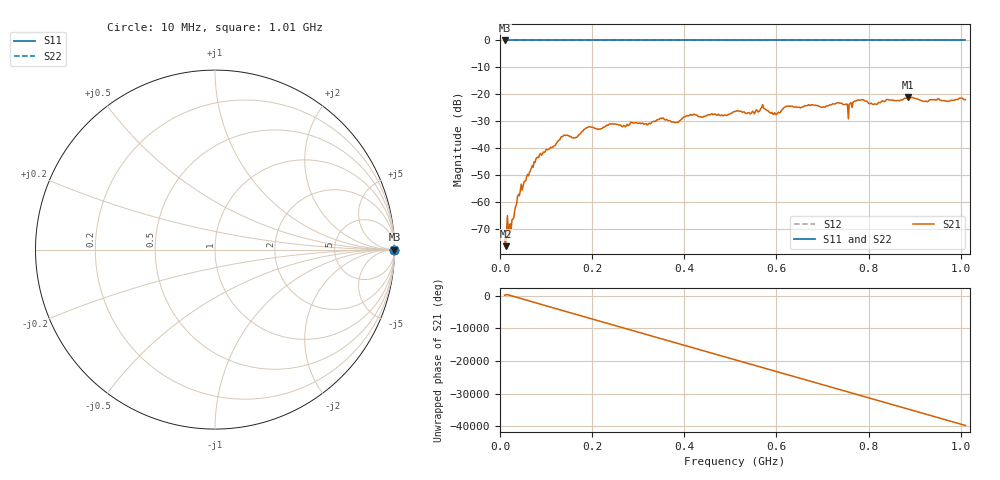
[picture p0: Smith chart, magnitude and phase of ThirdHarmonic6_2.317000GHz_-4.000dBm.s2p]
! 8/17/2025 3:15:26 AM
! C:\ANRITSUVNA\TEMP\TEMP.S2P
! CHANNEL.1
! TR.MEASUREMENT
! RAW.DATA
! RF.CORRECTION.OFF
! AVERAGING.OFF
! IF.BANDWIDTH: 5KHZ
! SWEEPTYPE:  FREQ.SWEEP(Linear)
! Reference Plane Port Info
! PORT:  PORT1  PORT2
! DISTANCE:  0  m  0  m
! TIME:  0  s  0  s
! PHASE.OFFSET:  0  deg.  0  deg.
! LOSS:  0  dB  0  dB
! REF.LOSS:  0  dB  0  dB
! REF.FREQ:  0  Hz  0  Hz
! Power Info
! POWER:  -20  dBm  -20  dBm
! EFF.POWER:  -20  dBm  -20  dBm
! SOURCE.ATTEN:  0  dB  0  dB
! TEST.ATTEN:  0  dB  0  dB
# GHZ S RI R 50.0
! FREQ.GHZ  S11RE  S11IM  S21RE  S21IM  S12RE  S12IM  S22RE  S22IM
!; PortSelection: Port_12
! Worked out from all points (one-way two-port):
!   501 points, 10 MHz to 1.01 GHz, reference 50 ohm
!   highest |S21| = -21.10 dB at 886 MHz (marker M1); lowest = -76.3 dB at 12 MHz (marker M2)
!   lowest |S11| = 0.0 dB at 10 MHz (marker M3)
!   |S11| at or under -10 dB: nowhere
!   |S22| runs from 0.0 to 0.0 dB; largest |S21 - S12| = 1.1
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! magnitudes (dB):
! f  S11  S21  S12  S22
! 10 MHz  0.0  -73.7  0.0  0.0
! 12 MHz  0.0  -76.3  0.0  0.0
! 24 MHz  0.0  -70.6  0.0  0.0
! 42 MHz  0.0  -57.6  0.0  0.0
! 78 MHz  0.0  -43.9  0.0  0.0
! 136 MHz  0.0  -35.6  0.0  0.0
! 164 MHz  0.0  -36.0  0.0  0.0
! 178 MHz  0.0  -33.8  0.0  0.0
! 344 MHz  0.0  -29.3  0.0  0.0
! 382 MHz  0.0  -30.3  0.0  0.0
! 410 MHz  0.0  -27.9  0.0  0.0
! 510 MHz  0.0  -26.3  0.0  0.0
! 570 MHz  0.0  -23.8  0.0  0.0
! 596 MHz  0.0  -26.8  0.0  0.0
! 622 MHz  0.0  -24.4  0.0  0.0
! 678 MHz  0.0  -23.9  0.0  0.0
! 760 MHz  0.0  -23.4  0.0  0.0
! 778 MHz  0.0  -22.1  0.0  0.0
! 814 MHz  0.0  -23.5  0.0  0.0
! 844 MHz  0.0  -22.1  0.0  0.0
! 886 MHz  0.0  -21.1  0.0  0.0
! 1.01 GHz  0.0  -22.0  0.0  0.0
